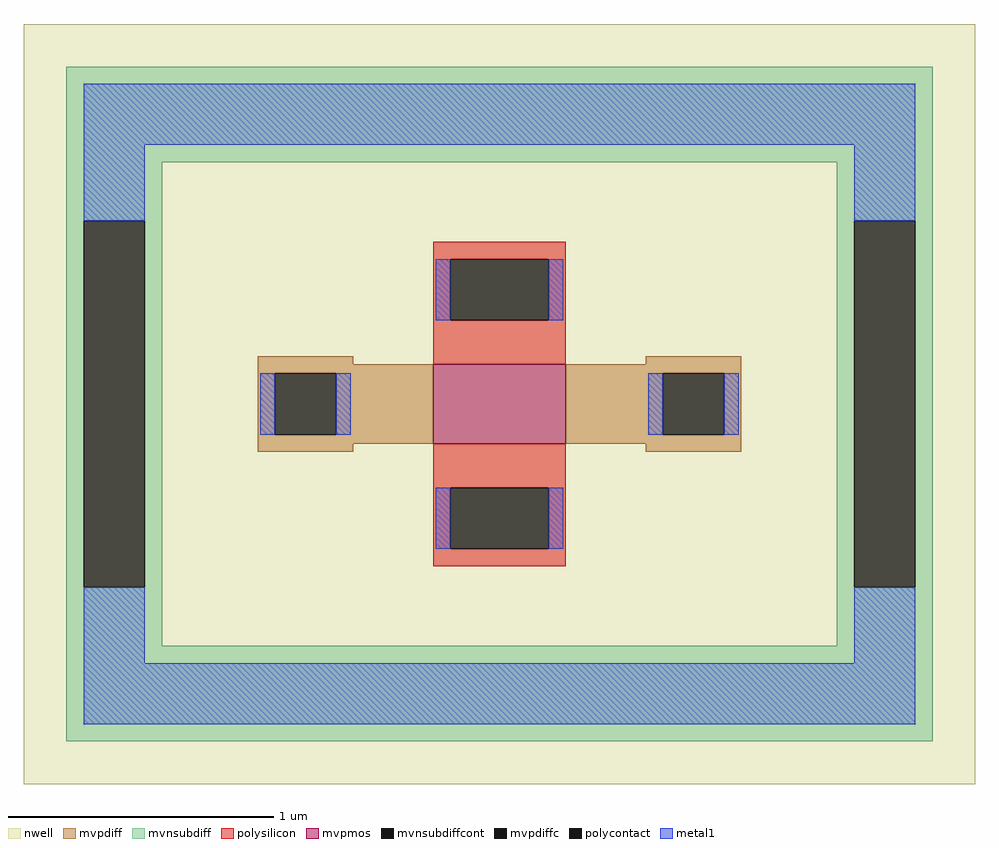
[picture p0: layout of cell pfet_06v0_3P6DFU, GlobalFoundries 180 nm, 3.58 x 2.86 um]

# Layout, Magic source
magic
tech gf180mcuD
magscale 1 10
<< nwell >>
rect -358 -286 358 286
<< mvpmos >>
rect -50 -30 50 30
<< mvpdiff >>
rect -182 30 -110 36
rect 110 30 182 36
rect -182 23 -50 30
rect -182 -23 -169 23
rect -123 -23 -50 23
rect -182 -30 -50 -23
rect 50 23 182 30
rect 50 -23 123 23
rect 169 -23 182 23
rect 50 -30 182 -23
rect -182 -36 -110 -30
rect 110 -36 182 -30
<< mvpdiffc >>
rect -169 -23 -123 23
rect 123 -23 169 23
<< mvnsubdiff >>
rect -326 182 326 254
rect -326 138 -254 182
rect -326 -138 -313 138
rect -267 -138 -254 138
rect 254 138 326 182
rect -326 -182 -254 -138
rect 254 -138 267 138
rect 313 -138 326 138
rect 254 -182 326 -138
rect -326 -254 326 -182
<< mvnsubdiffcont >>
rect -313 -138 -267 138
rect 267 -138 313 138
<< polysilicon >>
rect -50 109 50 122
rect -50 63 -37 109
rect 37 63 50 109
rect -50 30 50 63
rect -50 -63 50 -30
rect -50 -109 -37 -63
rect 37 -109 50 -63
rect -50 -122 50 -109
<< polycontact >>
rect -37 63 37 109
rect -37 -109 37 -63
<< metal1 >>
rect -313 195 313 241
rect -313 138 -267 195
rect 267 138 313 195
rect -48 63 -37 109
rect 37 63 48 109
rect -180 -23 -169 23
rect -123 -23 -112 23
rect 112 -23 123 23
rect 169 -23 180 23
rect -48 -109 -37 -63
rect 37 -109 48 -63
rect -313 -195 -267 -138
rect 267 -195 313 -138
rect -313 -241 313 -195
<< properties >>
string FIXED_BBOX -290 -218 290 218
string gencell pfet_06v0
string library gf180mcu
string parameters w 0.3 l 0.5 m 1 nf 1 diffcov 100 polycov 100 guard 1 glc 1 grc 1 gtc 0 gbc 0 tbcov 100 rlcov 100 topc 1 botc 1 poverlap 0 doverlap 1 lmin 0.5 wmin 0.3 class mosfet full_metal 1 compatible {pfet_03v3 pfet_06v0}
<< end >>
